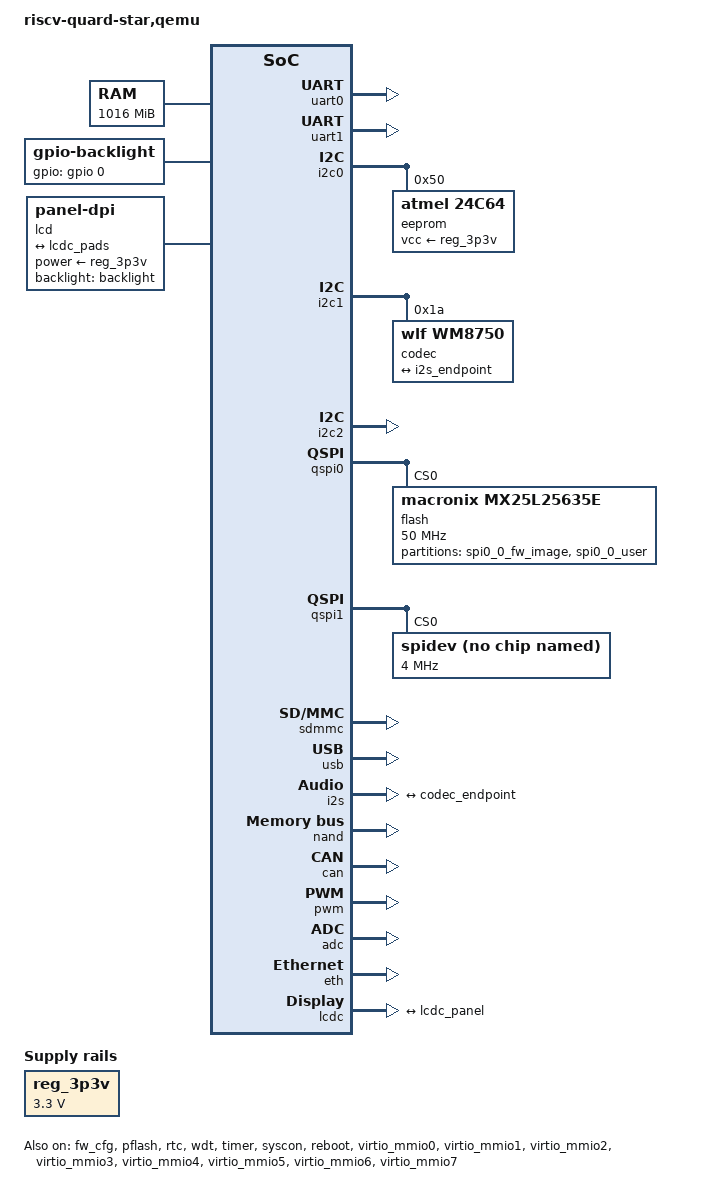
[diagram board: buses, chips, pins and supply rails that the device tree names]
#include "quard_star.dtsi"

/ {
	#address-cells = <0x2>;
	#size-cells = <0x2>;
	compatible = "riscv-quard-star";
	model = "riscv-quard-star,qemu";

	chosen {
		bootargs = "root=/dev/vda2 rw console=ttyS0 earlycon=sbi fbcon=map:1023 fbcon=logo-pos:center nokaslr kgdboc=ttyS1,115200 kgdbwait";
		stdout-path = "/soc/uart0@10000000";
	};

	memory@80000000 {
		device_type = "memory";
		reg = <0x0 0x80000000 0x0 0x3f800000>;
	};

	reserved-memory {
		#address-cells = <2>;
		#size-cells = <2>;
		ranges;

		linux,cma@b0000000 {
			compatible = "shared-dma-pool";
			size = <0x0 0xf800000>;
			reg = <0x0 0xb0000000 0x0 0xf800000>;
			alignment = <0x0 0x1000>;
			linux,cma-default;
		};
	};

	sound {
		compatible = "audio-graph-card";
		label = "QUARD_STAR_BOARD";
		dais = <&i2s_port>;
		status = "okay";
	};

	reg_3p3v: regulator {
		compatible = "regulator-fixed";
		regulator-name = "3P3V";
		regulator-min-microvolt = <3300000>;
		regulator-max-microvolt = <3300000>;
		regulator-always-on;
		status = "okay";
	};

	backlight: backlight {
		compatible = "gpio-backlight";
		gpios = <&gpio 0 0>;
		default-on;
		status = "okay";
	};

	panel {
		compatible = "panel-dpi";
		label = "lcd";
		power-supply = <&reg_3p3v>;
		backlight = <&backlight>;
		status = "okay";

		panel-timing {
			clock-frequency = <25175000>;
			hactive = <640>;
			hback-porch = <40>;
			hfront-porch = <24>;
			hsync-len = <96>;
			vactive = <480>;
			vback-porch = <32>;
			vfront-porch = <11>;
			vsync-len = <2>;
		};

		port {
			lcdc_panel: endpoint {
				remote-endpoint = <&lcdc_pads>;
			};
		};
	};
};

&cpu7 {
	status = "disabled";
};

&fw_cfg {
	status = "okay";
};

&uart0 {
	status = "okay";
};

&uart1 {
	status = "okay";
};

&pflash {
	status = "okay";
};

&rtc {
	status = "okay";
};

&i2c0 {
	status = "okay";
	
	eeprom: eeprom@50 {
		compatible = "atmel,24c64";
		reg = <0x50>;
		vcc-supply = <&reg_3p3v>;
	};
};

&i2c1 {
	status = "okay";

	codec: wm8750@1a {
		compatible = "wlf,wm8750";
		reg = <0x1a>;
		codec_port: port {
			codec_endpoint: endpoint {
				remote-endpoint = <&i2s_endpoint>;
			};
		};
	};
};

&i2c2 {
	status = "okay";
};

&qspi0 {
	status = "okay";
	
	flash@0 {
		compatible = "macronix,mx25l25635e", "jedec,spi-nor";
		reg = <0>;
		spi-max-frequency = <50000000>;
		m25p,fast-read;
		spi-tx-bus-width = <4>;
		spi-rx-bus-width = <4>;
		
		partitions {
			compatible = "fixed-partitions";
			#address-cells = <1>;
			#size-cells = <1>;

			partition@0 {
				reg = <0x00000000 0xC00000>;
				label = "spi0_0_fw_image";
				read-only;
			};
			partition@C00000 {
				reg = <0x00C00000 0x1400000>;
				label = "spi0_0_user";
			};
		};
	};
};

&qspi1 {
	status = "okay";
	
	spidev@0{
        compatible = "spidev";
        reg = <0>;
        spi-max-frequency = <4000000>;
    };
};

&gpio {
	status = "okay";
};

&sdmmc {
	status = "okay";
};

&usb {
	status = "okay";
};

&i2s {
	status = "okay";

	i2s_port: port {
		i2s_endpoint: endpoint {
			remote-endpoint = <&codec_endpoint>;
			dai-format = "i2s";
			frame-master;
			bitclock-master;
		};
	};
};

&nand {
	status = "okay";
};

&can {
	status = "okay";
};

&wdt {
	status = "okay";
};

&pwm {
	status = "okay";
};

&adc {
	status = "okay";
};

&timer {
	status = "okay";
};

&eth {
	status = "okay";
};

&lcdc {
	status = "okay";
	u-boot,dm-pre-reloc;

	port {
		lcdc_pads: endpoint {
			remote-endpoint = <&lcdc_panel>;
		};
	};

	display-timings { /* only for u-boot */
		u-boot,dm-pre-reloc;
		640x480 {
			clock-frequency = <25175000>;
			hactive = <640>;
			hback-porch = <40>;
			hfront-porch = <24>;
			hsync-len = <96>;
			vactive = <480>;
			vback-porch = <32>;
			vfront-porch = <11>;
			vsync-len = <2>;
			u-boot,dm-pre-reloc;
		};
	};
};

&dma {
	status = "okay";
};

&syscon {
	status = "okay";
};

&reboot {
	status = "okay";
};

&virtio_mmio0 {
	status = "okay";
};

&virtio_mmio1 {
	status = "okay";
};

&virtio_mmio2 {
	status = "okay";
};

&virtio_mmio3 {
	status = "okay";
};

&virtio_mmio4 {
	status = "okay";
};

&virtio_mmio5 {
	status = "okay";
};

&virtio_mmio6 {
	status = "okay";
};

&virtio_mmio7 {
	status = "okay";
};
